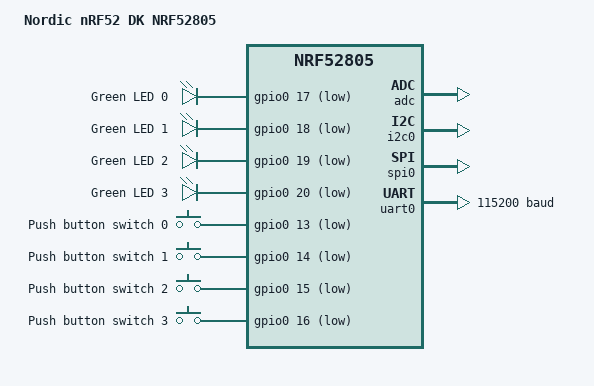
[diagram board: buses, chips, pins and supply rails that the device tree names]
/*
 * Copyright (c) 2020 Nordic Semiconductor ASA
 *
 * SPDX-License-Identifier: Apache-2.0
 */

/dts-v1/;
#include <nordic/nrf52805_caaa.dtsi>
#include "nrf52dk_nrf52805-pinctrl.dtsi"
#include <zephyr/dt-bindings/input/input-event-codes.h>

/ {
	model = "Nordic nRF52 DK NRF52805";
	compatible = "nordic,nrf52-dk-nrf52805";

	chosen {
		zephyr,console = &uart0;
		zephyr,shell-uart = &uart0;
		zephyr,uart-mcumgr = &uart0;
		zephyr,bt-mon-uart = &uart0;
		zephyr,bt-c2h-uart = &uart0;
		zephyr,sram = &sram0;
		zephyr,flash = &flash0;
		zephyr,code-partition = &slot0_partition;
	};

	leds {
		compatible = "gpio-leds";
		led0: led_0 {
			gpios = <&gpio0 17 GPIO_ACTIVE_LOW>;
			label = "Green LED 0";
		};
		led1: led_1 {
			gpios = <&gpio0 18 GPIO_ACTIVE_LOW>;
			label = "Green LED 1";
		};
		led2: led_2 {
			gpios = <&gpio0 19 GPIO_ACTIVE_LOW>;
			label = "Green LED 2";
		};
		led3: led_3 {
			gpios = <&gpio0 20 GPIO_ACTIVE_LOW>;
			label = "Green LED 3";
		};
	};

	buttons {
		compatible = "gpio-keys";
		button0: button_0 {
			label = "Push button switch 0";
			gpios = <&gpio0 13 (GPIO_PULL_UP | GPIO_ACTIVE_LOW)>;
			zephyr,code = <INPUT_KEY_0>;
		};
		button1: button_1 {
			label = "Push button switch 1";
			gpios = <&gpio0 14 (GPIO_PULL_UP | GPIO_ACTIVE_LOW)>;
			zephyr,code = <INPUT_KEY_1>;
		};
		button2: button_2 {
			label = "Push button switch 2";
			gpios = <&gpio0 15 (GPIO_PULL_UP | GPIO_ACTIVE_LOW)>;
			zephyr,code = <INPUT_KEY_2>;
		};
		button3: button_3 {
			label = "Push button switch 3";
			gpios = <&gpio0 16 (GPIO_PULL_UP | GPIO_ACTIVE_LOW)>;
			zephyr,code = <INPUT_KEY_3>;
		};
	};

	/* These aliases are provided for compatibility with samples */
	aliases {
		led0 = &led0;
		led1 = &led1;
		led2 = &led2;
		led3 = &led3;
		sw0 = &button0;
		sw1 = &button1;
		sw2 = &button2;
		sw3 = &button3;
		bootloader-led0 = &led0;
		mcuboot-button0 = &button0;
		mcuboot-led0 = &led0;
		watchdog0 = &wdt0;
	};
};

&reg {
	regulator-initial-mode = <NRF5X_REG_MODE_DCDC>;
};

&adc {
	status = "okay";
};

&uicr {
	gpio-as-nreset;
};

&gpio0 {
	status = "okay";
};

&gpiote {
	status = "okay";
};

&i2c0 {
	compatible = "nordic,nrf-twi";
	status = "okay";
	pinctrl-0 = <&i2c0_default>;
	pinctrl-1 = <&i2c0_sleep>;
	pinctrl-names = "default", "sleep";
};

&spi0 {
	compatible = "nordic,nrf-spi";
	status = "okay";
	pinctrl-0 = <&spi0_default>;
	pinctrl-1 = <&spi0_sleep>;
	pinctrl-names = "default", "sleep";
};

&uart0 {
	compatible = "nordic,nrf-uarte";
	status = "okay";
	current-speed = <115200>;
	pinctrl-0 = <&uart0_default>;
	pinctrl-1 = <&uart0_sleep>;
	pinctrl-names = "default", "sleep";
};

&flash0 {
	partitions {
		compatible = "fixed-partitions";
		#address-cells = <1>;
		#size-cells = <1>;

		boot_partition: partition@0 {
			label = "mcuboot";
			reg = <0x00000000 0xc000>;
		};
		slot0_partition: partition@c000 {
			label = "image-0";
			reg = <0x0000C000 0xe000>;
		};
		slot1_partition: partition@1a000 {
			label = "image-1";
			reg = <0x0001a000 0xe000>;
		};
		storage_partition: partition@28000 {
			label = "storage";
			reg = <0x00028000 0x00008000>;
		};
	};
};
